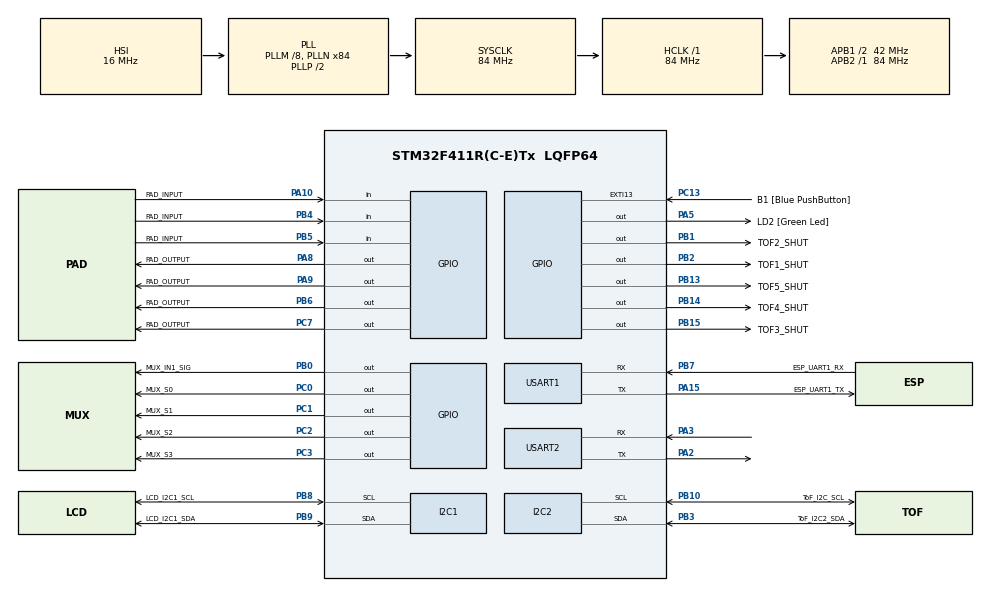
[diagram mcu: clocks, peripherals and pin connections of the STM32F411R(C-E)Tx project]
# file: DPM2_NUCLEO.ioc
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FREERTOS.Tasks01=defaultTask,8,128,StartDefaultTask,Default,NULL,Dynamic,NULL,NULL
FREERTOS.configUSE_NEWLIB_REENTRANT=1
I2C1.I2C_Mode=I2C_Fast
Mcu.Family=STM32F4
Mcu.Name=STM32F411R(C-E)Tx
Mcu.Package=LQFP64
NVIC.PriorityGroup=NVIC_PRIORITYGROUP_4
NVIC.TIM1_UP_TIM10_IRQn=true\:15\:0\:false\:false\:true\:false\:false\:true\:true
NVIC.TimeBase=TIM1_UP_TIM10_IRQn
NVIC.TimeBaseIP=TIM1
PA10.GPIO_Label=PAD_INPUT
PA10.GPIO_Mode=GPIO_MODE_INPUT
PA10.GPIO_PuPd=GPIO_PULLUP
PA10.Signal=GPIO_Input
PA13.GPIO_Label=TMS
PA13.Mode=Serial_Wire
PA13.Signal=SYS_JTMS-SWDIO
PA14.GPIO_Label=TCK
PA14.Mode=Serial_Wire
PA14.Signal=SYS_JTCK-SWCLK
PA15.GPIO_Label=ESP_UART1_TX
PA15.Mode=Asynchronous
PA15.Signal=USART1_TX
PA2.Mode=Asynchronous
PA2.Signal=USART2_TX
PA3.Mode=Asynchronous
PA3.Signal=USART2_RX
PA5.GPIO_Label=LD2 [Green Led]
PA5.Signal=GPIO_Output
PA8.GPIO_Label=PAD_OUTPUT
PA8.Signal=GPIO_Output
PA9.GPIO_Label=PAD_OUTPUT
PA9.Signal=GPIO_Output
PB0.GPIO_Label=MUX_IN1_SIG
PB0.Signal=GPIO_Output
PB1.GPIO_Label=TOF2_SHUT
PB1.Signal=GPIO_Output
PB10.GPIO_Label=ToF_I2C_SCL
PB10.Mode=I2C
PB10.Signal=I2C2_SCL
PB13.GPIO_Label=TOF5_SHUT
PB13.Signal=GPIO_Output
PB14.GPIO_Label=TOF4_SHUT
PB14.Signal=GPIO_Output
PB15.GPIO_Label=TOF3_SHUT
PB15.Signal=GPIO_Output
PB2.GPIO_Label=TOF1_SHUT
PB2.Signal=GPIO_Output
PB3.GPIO_Label=ToF_I2C2_SDA
PB3.Mode=I2C
PB3.Signal=I2C2_SDA
PB4.GPIO_Label=PAD_INPUT
PB4.GPIO_PuPd=GPIO_PULLUP
PB4.Signal=GPIO_Input
PB5.GPIO_Label=PAD_INPUT
PB5.GPIO_Mode=GPIO_MODE_INPUT
PB5.GPIO_PuPd=GPIO_PULLUP
PB5.Signal=GPIO_Input
PB6.GPIO_Label=PAD_OUTPUT
PB6.Signal=GPIO_Output
PB7.GPIO_Label=ESP_UART1_RX
PB7.Mode=Asynchronous
PB7.Signal=USART1_RX
PB8.GPIO_Label=LCD_I2C1_SCL
PB8.Mode=I2C
PB8.Signal=I2C1_SCL
PB9.GPIO_Label=LCD_I2C1_SDA
PB9.Mode=I2C
PB9.Signal=I2C1_SDA
PC0.GPIO_Label=MUX_S0
PC0.GPIO_ModeDefaultOutputPP=GPIO_MODE_OUTPUT_PP
PC0.GPIO_PuPd=GPIO_NOPULL
PC0.GPIO_Speed=GPIO_SPEED_FREQ_LOW
PC0.PinState=GPIO_PIN_RESET
PC0.Signal=GPIO_Output
PC1.GPIO_Label=MUX_S1
PC1.GPIO_ModeDefaultOutputPP=GPIO_MODE_OUTPUT_PP
PC1.GPIO_PuPd=GPIO_NOPULL
PC1.GPIO_Speed=GPIO_SPEED_FREQ_LOW
PC1.PinState=GPIO_PIN_RESET
PC1.Signal=GPIO_Output
PC13-ANTI_TAMP.GPIO_Label=B1 [Blue PushButton]
PC13-ANTI_TAMP.GPIO_ModeDefaultEXTI=GPIO_MODE_IT_FALLING
PC13-ANTI_TAMP.Signal=GPXTI13
PC14-OSC32_IN.Mode=LSE-External-Oscillator
PC14-OSC32_IN.Signal=RCC_OSC32_IN
PC15-OSC32_OUT.Mode=LSE-External-Oscillator
PC15-OSC32_OUT.Signal=RCC_OSC32_OUT
PC2.GPIO_Label=MUX_S2
PC2.GPIO_ModeDefaultOutputPP=GPIO_MODE_OUTPUT_PP
PC2.GPIO_PuPd=GPIO_NOPULL
PC2.GPIO_Speed=GPIO_SPEED_FREQ_LOW
PC2.PinState=GPIO_PIN_RESET
PC2.Signal=GPIO_Output
PC3.GPIO_Label=MUX_S3
PC3.GPIO_ModeDefaultOutputPP=GPIO_MODE_OUTPUT_PP
PC3.GPIO_PuPd=GPIO_NOPULL
PC3.GPIO_Speed=GPIO_SPEED_FREQ_LOW
PC3.PinState=GPIO_PIN_RESET
PC3.Signal=GPIO_Output
PC7.GPIO_Label=PAD_OUTPUT
PC7.Signal=GPIO_Output
PH0\ -\ OSC_IN.Mode=HSE-External-Clock-Source
PH0\ -\ OSC_IN.Signal=RCC_OSC_IN
PH1\ -\ OSC_OUT.Mode=HSE-External-Clock-Source
PH1\ -\ OSC_OUT.Signal=RCC_OSC_OUT
ProjectManager.HeapSize=0x200
ProjectManager.StackSize=0x400
ProjectManager.TargetToolchain=STM32CubeIDE
RCC.48MHZClocksFreq_Value=42000000
RCC.AHBFreq_Value=84000000
RCC.APB1CLKDivider=RCC_HCLK_DIV2
RCC.APB1Freq_Value=42000000
RCC.APB1TimFreq_Value=84000000
RCC.APB2Freq_Value=84000000
RCC.APB2TimFreq_Value=84000000
RCC.CortexFreq_Value=84000000
RCC.FLatency-AdvancedSettings=FLASH_LATENCY_2
RCC.HCLKFreq_Value=84000000
RCC.HSE_VALUE=8000000
RCC.HSI_VALUE=16000000
RCC.PLLM=8
RCC.PLLN=84
RCC.SYSCLKFreq_VALUE=84000000
RCC.SYSCLKSource=RCC_SYSCLKSOURCE_PLLCLK
RCC.VCOOutputFreq_Value=168000000
USART1.VirtualMode=VM_ASYNC
USART2.VirtualMode=VM_ASYNC
VP_FREERTOS_VS_CMSIS_V2.Mode=CMSIS_V2
VP_SYS_VS_tim1.Mode=TIM1
board=NUCLEO-F411RE

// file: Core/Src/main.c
/* USER CODE BEGIN Header */
/**
  ******************************************************************************
  * @file           : main.c
  * @brief          : Main program body
  ******************************************************************************
  * @attention
  *
  * Copyright (c) 2025 STMicroelectronics.
  * All rights reserved.
  *
  * This software is licensed under terms that can be found in the LICENSE file
  * in the root directory of this software component.
  * If no LICENSE file comes with this software, it is provided AS-IS.
  *
  ******************************************************************************
  */
/* USER CODE END Header */
#include "main.h"
#include "cmsis_os.h"
#include "i2c.h"
#include "usart.h"
#include "gpio.h"

/* USER CODE BEGIN Includes */
#include "watchdog_service.h"
#include "supervision_service.h"
#include <stdio.h>
/* USER CODE END Includes */

void SystemClock_Config(void);
void MX_FREERTOS_Init(void);

/* USER CODE BEGIN 0 */
int __io_putchar(int ch) {
  HAL_UART_Transmit(&huart2, (uint8_t *)&ch, 1, HAL_MAX_DELAY);
  return ch;
}
/* USER CODE END 0 */

int main(void)
{

  /* MCU Configuration--------------------------------------------------------*/

  /* Reset of all peripherals, Initializes the Flash interface and the Systick. */
  HAL_Init();

  /* Configure the system clock */
  SystemClock_Config();

  /* Initialize all configured peripherals */
  MX_GPIO_Init();
  MX_USART2_UART_Init();
  MX_I2C1_Init();
  MX_USART1_UART_Init();
  MX_I2C2_Init();
  /* USER CODE BEGIN 2 */
  // Vérifier si le reset précédent était dû au watchdog
  if (Watchdog_WasResetCause()) {
    printf("\r\n*** RESET WATCHDOG DÉTECTÉ ***\r\n");
    printf("Système redémarré par le watchdog\r\n");
  }

  // Initialiser le service de supervision
  SupervisionService_Init();
  /* USER CODE END 2 */

  /* Init scheduler */
  osKernelInitialize();  /* Call init function for freertos objects (in cmsis_os2.c) */
  MX_FREERTOS_Init();

  /* Start scheduler */
  osKernelStart();

  /* We should never get here as control is now taken by the scheduler */

  /* Infinite loop */
  while (1)
  {

  }
}

void SystemClock_Config(void)
{
  RCC_OscInitTypeDef RCC_OscInitStruct = {0};
  RCC_ClkInitTypeDef RCC_ClkInitStruct = {0};

  /** Configure the main internal regulator output voltage
  */
  __HAL_RCC_PWR_CLK_ENABLE();
  __HAL_PWR_VOLTAGESCALING_CONFIG(PWR_REGULATOR_VOLTAGE_SCALE1);

  /** Initializes the RCC Oscillators according to the specified parameters
  * in the RCC_OscInitTypeDef structure.
  */
  RCC_OscInitStruct.OscillatorType = RCC_OSCILLATORTYPE_HSI;
  RCC_OscInitStruct.HSIState = RCC_HSI_ON;
  RCC_OscInitStruct.HSICalibrationValue = RCC_HSICALIBRATION_DEFAULT;
  RCC_OscInitStruct.PLL.PLLState = RCC_PLL_ON;
  RCC_OscInitStruct.PLL.PLLSource = RCC_PLLSOURCE_HSI;
  RCC_OscInitStruct.PLL.PLLM = 8;
  RCC_OscInitStruct.PLL.PLLN = 84;
  RCC_OscInitStruct.PLL.PLLP = RCC_PLLP_DIV2;
  RCC_OscInitStruct.PLL.PLLQ = 4;
  if (HAL_RCC_OscConfig(&RCC_OscInitStruct) != HAL_OK)
  {
    Error_Handler();
  }

  /** Initializes the CPU, AHB and APB buses clocks
  */
  RCC_ClkInitStruct.ClockType = RCC_CLOCKTYPE_HCLK|RCC_CLOCKTYPE_SYSCLK
                              |RCC_CLOCKTYPE_PCLK1|RCC_CLOCKTYPE_PCLK2;
  RCC_ClkInitStruct.SYSCLKSource = RCC_SYSCLKSOURCE_PLLCLK;
  RCC_ClkInitStruct.AHBCLKDivider = RCC_SYSCLK_DIV1;
  RCC_ClkInitStruct.APB1CLKDivider = RCC_HCLK_DIV2;
  RCC_ClkInitStruct.APB2CLKDivider = RCC_HCLK_DIV1;

  if (HAL_RCC_ClockConfig(&RCC_ClkInitStruct, FLASH_LATENCY_2) != HAL_OK)
  {
    Error_Handler();
  }
}

void HAL_TIM_PeriodElapsedCallback(TIM_HandleTypeDef *htim)
{
  if (htim->Instance == TIM1)
  {
    HAL_IncTick();
  }
}

void Error_Handler(void)
{
  __disable_irq();
  while (1)
  {
  }
}

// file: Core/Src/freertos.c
/* USER CODE BEGIN Header */
/**
  ******************************************************************************
  * File Name          : freertos.c
  * Description        : Code for freertos applications
  ******************************************************************************
  * @attention
  *
  * Copyright (c) 2025 STMicroelectronics.
  * All rights reserved.
  *
  * This software is licensed under terms that can be found in the LICENSE file
  * in the root directory of this software component.
  * If no LICENSE file comes with this software, it is provided AS-IS.
  *
  ******************************************************************************
  */
/* USER CODE END Header */

#include "FreeRTOS.h"
#include "task.h"
#include "main.h"
#include "cmsis_os.h"

/* USER CODE BEGIN Includes */
#include <stdio.h>
#include "lcd_service.h"
#include "blink_led.h"
#include "send_uart.h"
#include "keypad_service.h"
#include "motor_service.h"
#include "orchestrator.h"
#include "sensor_stock_service.h"
#include "esp_communication_service.h"
#include "watchdog_service.h"

/* USER CODE END Includes */

/* USER CODE BEGIN Variables */
osThreadId_t blinkLEDHandle;
osThreadId_t sendUARTHandle;
osThreadId_t lcdTaskHandle;
osThreadId_t keypadTaskHandle;
osThreadId_t motorTaskHandle;
osThreadId_t orchestratorTaskHandle;
osThreadId_t sensorStockTaskHandle;
osThreadId_t espCommTaskHandle;
osThreadId_t watchdogTaskHandle;

osMessageQueueId_t keypadEventQueueHandle;
osMessageQueueId_t orchestratorEventQueueHandle;
osMessageQueueId_t lcdMessageQueueHandle;
osMutexId_t i2c1Mutex;

const osThreadAttr_t blinkLED_attributes = {
  .name = "blinkLED",
  .stack_size = 256 * 4,
  .priority = (osPriority_t) osPriorityNormal,
};

const osThreadAttr_t sendUART_attributes = {
  .name = "sendUART",
  .stack_size = 256 * 4,
  .priority = (osPriority_t) osPriorityLow,
};

const osThreadAttr_t lcdTask_attributes = {
  .name = "lcdTask",
  .stack_size = 256 * 4,
  .priority = (osPriority_t) osPriorityNormal,
};

const osThreadAttr_t keypadTask_attributes = {
  .name = "keypadTask",
  .stack_size = 256 * 4,
  .priority = (osPriority_t) osPriorityNormal,
};

const osThreadAttr_t motorTask_attributes = {
  .name = "motorTask",
  .stack_size = 256 * 4,
  .priority = (osPriority_t) osPriorityNormal,
};

const osThreadAttr_t orchestratorTask_attributes = {
  .name = "orchestratorTask",
  .stack_size = 256 * 4,
  .priority = (osPriority_t) osPriorityAboveNormal,
};

const osThreadAttr_t sensorStockTask_attributes = {
  .name = "sensorStockTask",
  .stack_size = 256 * 4,
  .priority = (osPriority_t) osPriorityNormal,
};
const osThreadAttr_t espCommTask_attributes = {
  .name = "espCommTask",
  .stack_size = 256 * 4,
  .priority = (osPriority_t) osPriorityNormal,
};

const osThreadAttr_t watchdogTask_attributes = {
  .name = "watchdogTask",
  .stack_size = 512 * 4,  // Plus de stack pour les diagnostics
  .priority = (osPriority_t) osPriorityRealtime,  // Priorité maximale
};

const osMessageQueueAttr_t keypadEventQueue_attributes = {
  .name = "keypadEventQueue"
};
const osMessageQueueAttr_t orchestratorEventQueue_attributes = {
  .name = "orchestratorEventQueue"
};
const osMessageQueueAttr_t lcdMessageQueue_attributes = {
  .name = "lcdMessageQueue"
};
/* USER CODE END Variables */
/* Definitions for defaultTask */
osThreadId_t defaultTaskHandle;
const osThreadAttr_t defaultTask_attributes = {
  .name = "defaultTask",
  .stack_size = 128 * 4,
  .priority = (osPriority_t) osPriorityLow,
};

/* USER CODE BEGIN FunctionPrototypes */
extern void StartTaskBlinkLED(void *argument);
extern void StartTaskSendUART(void *argument);
extern void StartTaskLCD(void *argument);
extern void StartTaskKeypad(void *argument);
extern void StartTaskMotorService(void *argument);
extern void StartTaskOrchestrator(void *argument);

/* USER CODE END FunctionPrototypes */

void StartDefaultTask(void *argument);

void MX_FREERTOS_Init(void); /* (MISRA C 2004 rule 8.1) */

void MX_FREERTOS_Init(void) {
  /* USER CODE BEGIN Init */
	printf("\r\nCreating tasks...\r\n");
  /* USER CODE END Init */

  /* USER CODE BEGIN RTOS_MUTEX */
  // Mutex I2C1 pour LCD + capteurs (évite collisions)
  const osMutexAttr_t i2c1MutexAttr = { .name = "i2c1Mutex" };
  i2c1Mutex = osMutexNew(&i2c1MutexAttr);

  // Mutex pour variables globales d'état (sécurité thread-safe)
  extern osMutexId_t globalStateMutex;
  extern osMutexId_t keypadChoiceMutex;

  const osMutexAttr_t globalStateMutexAttr = { .name = "globalStateMutex" };
  globalStateMutex = osMutexNew(&globalStateMutexAttr);
  if (globalStateMutex == NULL) {
      printf("ERREUR: Impossible de créer globalStateMutex\r\n");
  }

  const osMutexAttr_t keypadChoiceMutexAttr = { .name = "keypadChoiceMutex" };
  keypadChoiceMutex = osMutexNew(&keypadChoiceMutexAttr);
  if (keypadChoiceMutex == NULL) {
      printf("ERREUR: Impossible de créer keypadChoiceMutex\r\n");
  }
  /* USER CODE END RTOS_MUTEX */

  /* USER CODE BEGIN RTOS_QUEUES */
  keypadEventQueueHandle = osMessageQueueNew(8, sizeof(KeypadEvent), &keypadEventQueue_attributes);
  orchestratorEventQueueHandle = osMessageQueueNew(8, sizeof(OrchestratorEvent), &orchestratorEventQueue_attributes);
  lcdMessageQueueHandle = osMessageQueueNew(4, sizeof(LcdMessage), &lcdMessageQueue_attributes);
  /* USER CODE END RTOS_QUEUES */

  /* Create the thread(s) */
  /* creation of defaultTask */
  defaultTaskHandle = osThreadNew(StartDefaultTask, NULL, &defaultTask_attributes);

  /* USER CODE BEGIN RTOS_THREADS */
  blinkLEDHandle    = osThreadNew(StartTaskBlinkLED, NULL, &blinkLED_attributes);
  //sendUARTHandle    = osThreadNew(StartTaskSendUART, NULL, &sendUART_attributes);
  lcdTaskHandle     = osThreadNew(StartTaskLCD, NULL, &lcdTask_attributes);
  keypadTaskHandle  = osThreadNew(StartTaskKeypad, NULL, &keypadTask_attributes);
  motorTaskHandle  = osThreadNew(StartTaskMotorService, NULL, &motorTask_attributes);
  orchestratorTaskHandle = osThreadNew(StartTaskOrchestrator, NULL, &orchestratorTask_attributes);
  //sensorStockTaskHandle = osThreadNew(StartTaskSensorStock, NULL, &sensorStockTask_attributes);
  espCommTaskHandle = osThreadNew(StartTaskEspCommunication, NULL, &espCommTask_attributes);

  // Initialiser et démarrer le service watchdog
  Watchdog_Init();
  watchdogTaskHandle = osThreadNew(StartTaskWatchdog, NULL, &watchdogTask_attributes);

  // Enregistrer les tâches critiques auprès du watchdog
  Watchdog_RegisterTask(TASK_ORCHESTRATOR, &orchestratorTaskHandle, 2000);
  Watchdog_RegisterTask(TASK_KEYPAD, &keypadTaskHandle, 3000);
  Watchdog_RegisterTask(TASK_LCD, &lcdTaskHandle, 5000);
  Watchdog_RegisterTask(TASK_ESP_COMM, &espCommTaskHandle, 4000);
  /* USER CODE END RTOS_THREADS */

}

void StartDefaultTask(void *argument)
{
  for(;;)
  {
    osDelay(1);
  }
}
